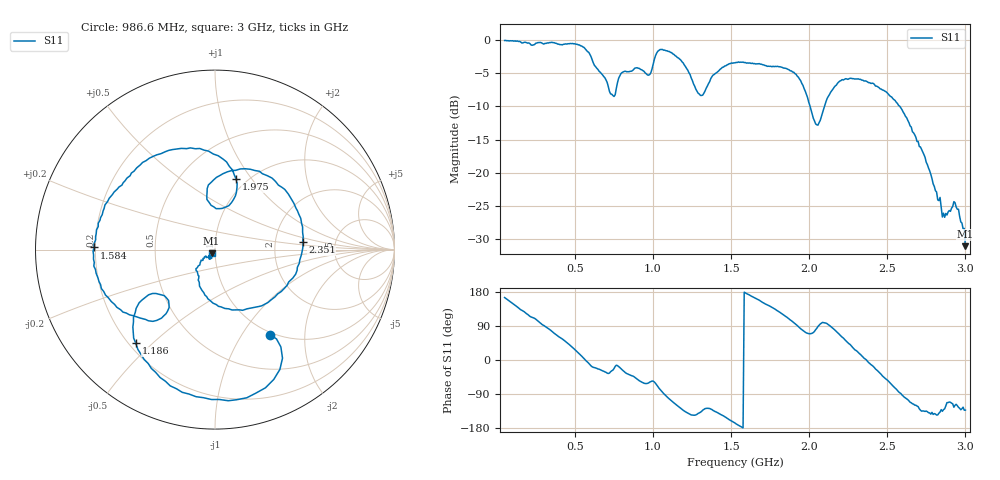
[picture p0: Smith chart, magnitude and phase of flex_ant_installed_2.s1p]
! nanovna_capture.py 2026-11-02T23:27:06+0900
! NanoVNA-F_V2 fw 0.6.0 SN 4A3639384505514B
! cal: load open short cal'ed  over 50000000-3000000000 Hz, 201 points
! points 401, avg 4
! Ledger Flex implant antenna via its own coax onto the MHF4-SMA adapter, unplugged from the modem; installed (case closed as far as the coax allows), non-metal surface, hands away; capture 2
# HZ S RI R 50
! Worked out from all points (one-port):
!   401 points, 50 MHz to 3 GHz, reference 50 ohm
!   lowest |S11| = -31.0 dB at 3 GHz (marker M1), VSWR 1.06, Z = 48.1 - j2 ohm
!   |S11| at or under -10 dB: 2.006 GHz to 2.098 GHz (92.46 MHz wide, 4.51 % of centre); 2.58 GHz to end of sweep
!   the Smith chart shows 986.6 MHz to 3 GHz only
!   S11 on the Smith chart (normalised r, x): 986.6 MHz: 0.96, -1.35; 1.186 GHz: 0.23, -0.44; 1.584 GHz: 0.19, +0.01; 1.975 GHz: 0.89, +0.84; 2.351 GHz: 2.88, +0.31; 3 GHz: 0.96, -0.04
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5e7  -0.9527 0.259
2.7125e8  -0.1686 0.9374
4.1875e8  0.5159 0.756
5.29375e8  0.8785 0.249
6.105e8  0.6713 -0.2174
7.285e8  0.3361 -0.2014
7.875e8  0.5038 -0.1821
9.86625e8  0.3084 -0.4752
1.016125e9  0.3615 -0.6675
1.060375e9  0.074 -0.8421
1.15625e9  -0.3728 -0.6337
1.18575e9  -0.4413 -0.5214
1.266875e9  -0.3699 -0.2518
1.33325e9  -0.2555 -0.323
1.525e9  -0.6514 -0.1595
1.584e9  -0.6737 0.0122
1.768375e9  -0.466 0.4264
1.89375e9  -0.1094 0.5619
1.974875e9  0.1176 0.3934
2.048625e9  0.0254 0.2281
2.107625e9  -0.0434 0.3404
2.2625e9  0.3888 0.3353
2.351e9  0.4879 0.0409
2.491125e9  0.2609 -0.3129
2.63125e9  -0.0628 -0.2396
2.859875e9  -0.0326 -0.0375
2.941e9  -0.0251 -0.0493
3e9  -0.0189 -0.0208
